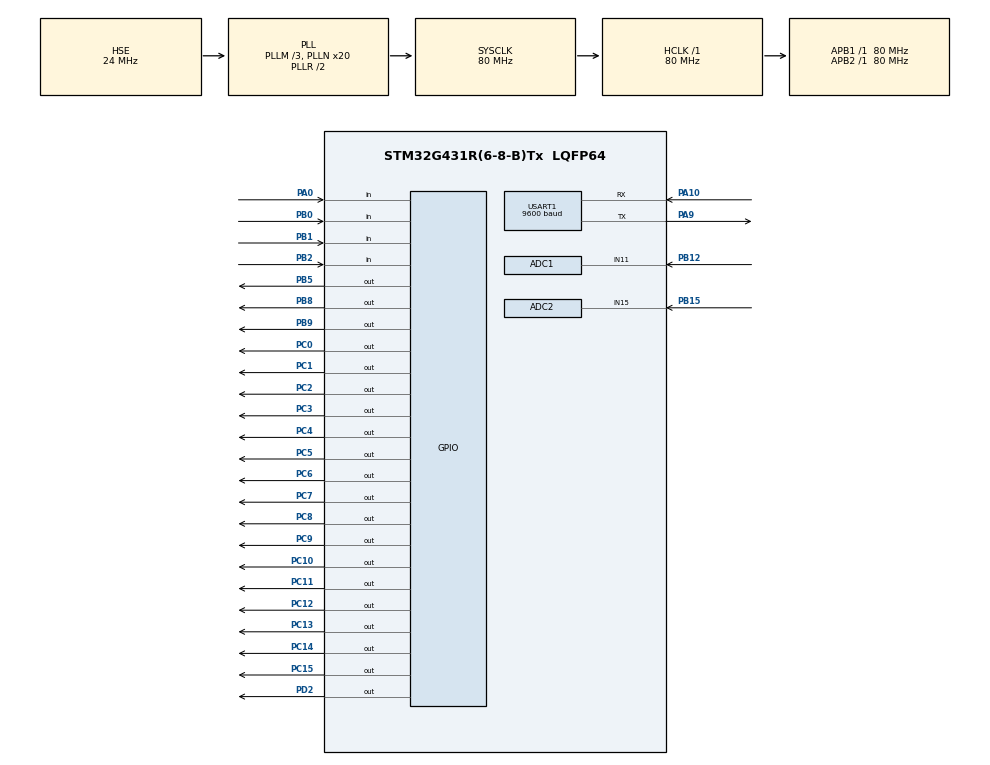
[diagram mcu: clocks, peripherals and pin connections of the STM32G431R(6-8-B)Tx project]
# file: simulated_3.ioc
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ADC1.Channel-1\#ChannelRegularConversion=ADC_CHANNEL_11
ADC1.ClockPrescaler=ADC_CLOCK_SYNC_PCLK_DIV2
ADC1.ContinuousConvMode=DISABLE
ADC1.NbrOfConversionFlag=1
ADC1.OffsetNumber-1\#ChannelRegularConversion=ADC_OFFSET_NONE
ADC1.Rank-1\#ChannelRegularConversion=1
ADC1.SamplingTime-1\#ChannelRegularConversion=ADC_SAMPLETIME_2CYCLES_5
ADC1.master=1
ADC2.Channel-0\#ChannelRegularConversion=ADC_CHANNEL_15
ADC2.ContinuousConvMode=DISABLE
ADC2.EOCSelection=ADC_EOC_SINGLE_CONV
ADC2.NbrOfConversionFlag=1
ADC2.OffsetNumber-0\#ChannelRegularConversion=ADC_OFFSET_NONE
ADC2.Rank-0\#ChannelRegularConversion=1
ADC2.SamplingTime-0\#ChannelRegularConversion=ADC_SAMPLETIME_2CYCLES_5
Mcu.Family=STM32G4
Mcu.Name=STM32G431R(6-8-B)Tx
Mcu.Package=LQFP64
NVIC.PriorityGroup=NVIC_PRIORITYGROUP_4
NVIC.TIM1_TRG_COM_TIM17_IRQn=true\:0\:0\:false\:false\:true\:true\:true\:true
NVIC.USART1_IRQn=true\:0\:0\:false\:false\:true\:true\:true\:true
PA0.GPIO_PuPd=GPIO_PULLUP
PA0.Signal=GPIO_Input
PA10.Mode=Asynchronous
PA10.Signal=USART1_RX
PA13.Mode=Serial_Wire
PA13.Signal=SYS_JTMS-SWDIO
PA14.Mode=Serial_Wire
PA14.Signal=SYS_JTCK-SWCLK
PA9.Mode=Asynchronous
PA9.Signal=USART1_TX
PB0.GPIO_PuPd=GPIO_PULLUP
PB0.Signal=GPIO_Input
PB1.GPIO_PuPd=GPIO_PULLUP
PB1.Signal=GPIO_Input
PB12.Mode=IN11-Single-Ended
PB12.Signal=ADC1_IN11
PB15.Mode=IN15-Single-Ended
PB15.Signal=ADC2_IN15
PB2.GPIO_PuPd=GPIO_PULLUP
PB2.Signal=GPIO_Input
PB5.Signal=GPIO_Output
PB8-BOOT0.Signal=GPIO_Output
PB9.Signal=GPIO_Output
PC0.Signal=GPIO_Output
PC1.Signal=GPIO_Output
PC10.Signal=GPIO_Output
PC11.Signal=GPIO_Output
PC12.Signal=GPIO_Output
PC13.Signal=GPIO_Output
PC14-OSC32_IN.Signal=GPIO_Output
PC15-OSC32_OUT.Signal=GPIO_Output
PC2.Signal=GPIO_Output
PC3.Signal=GPIO_Output
PC4.Signal=GPIO_Output
PC5.Signal=GPIO_Output
PC6.Signal=GPIO_Output
PC7.Signal=GPIO_Output
PC8.Signal=GPIO_Output
PC9.Signal=GPIO_Output
PD2.Signal=GPIO_Output
PF0-OSC_IN.Mode=HSE-External-Oscillator
PF0-OSC_IN.Signal=RCC_OSC_IN
PF1-OSC_OUT.Mode=HSE-External-Oscillator
PF1-OSC_OUT.Signal=RCC_OSC_OUT
ProjectManager.HeapSize=0x200
ProjectManager.StackSize=0x400
ProjectManager.TargetToolchain=MDK-ARM V5.32
RCC.ADC12Freq_Value=80000000
RCC.AHBFreq_Value=80000000
RCC.APB1Freq_Value=80000000
RCC.APB1TimFreq_Value=80000000
RCC.APB2Freq_Value=80000000
RCC.APB2TimFreq_Value=80000000
RCC.CortexFreq_Value=80000000
RCC.EXTERNAL_CLOCK_VALUE=12288000
RCC.HCLKFreq_Value=80000000
RCC.HSE_VALUE=24000000
RCC.HSI48_VALUE=48000000
RCC.HSI_VALUE=16000000
RCC.LSE_VALUE=32768
RCC.PLLM=RCC_PLLM_DIV3
RCC.PLLN=20
RCC.PLLSourceVirtual=RCC_PLLSOURCE_HSE
RCC.SYSCLKFreq_VALUE=80000000
RCC.SYSCLKSource=RCC_SYSCLKSOURCE_PLLCLK
RCC.USBFreq_Value=80000000
RCC.VCOOutputFreq_Value=160000000
TIM17.PeriodNoDither=100-1
TIM17.Prescaler=800-1
USART1.BaudRate=9600
USART1.VirtualMode-Asynchronous=VM_ASYNC
VP_SYS_VS_DBSignals.Mode=DisableDeadBatterySignals
VP_TIM17_VS_ClockSourceINT.Mode=Enable_Timer
board=custom

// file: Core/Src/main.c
/* USER CODE BEGIN Header */
/**
  ******************************************************************************
  * @file           : main.c
  * @brief          : Main program body
  ******************************************************************************
  * @attention
  *
  * Copyright (c) 2025 STMicroelectronics.
  * All rights reserved.
  *
  * This software is licensed under terms that can be found in the LICENSE file
  * in the root directory of this software component.
  * If no LICENSE file comes with this software, it is provided AS-IS.
  *
  ******************************************************************************
  */
/* USER CODE END Header */
#include "main.h"
#include "adc.h"
#include "tim.h"
#include "usart.h"
#include "gpio.h"

void SystemClock_Config(void);

/* USER CODE BEGIN 0 */
u8 lcd_mod=0;
double V_R37,V_R38;
double R37_H=2.2,R37_L=1.2,R38_H=3.0,R38_L=1.4;
double PASS_R37=1.1,PASS_R38=2.2;
int ALL_NUM=0,R37_ENTER_NUM=0,R38_ENTER_NUM=0;
u8 B1,B11,B2,B22,B3,B33,B4,B44;
u8 B2_INDEX=0;
u8 rx[5];
u8 rx_len=0;
int R37_TIM_1S=0,R37_TIM_1S_CON=0;
int R38_TIM_1S=0,R38_TIM_1S_CON=0;
double R37_PASS_MEMORY[20],R38_PASS_MEMORY[20];
void lcd_proc(void)
{
	char text[21];
		sprintf(text,"%s    ",rx);
		LCD_DisplayStringLine(Line0, (unsigned char *)text);
	if(lcd_mod==0)
	{
		sprintf(text,"       GOODS     ");
		LCD_DisplayStringLine(Line1, (unsigned char *)text);
		sprintf(text,"     R37:%.2fV     ",V_R37);
		LCD_DisplayStringLine(Line3, (unsigned char *)text);
		sprintf(text,"     R38:%.2fV     ",V_R38);
		LCD_DisplayStringLine(Line4, (unsigned char *)text);
	}
	if(lcd_mod==1)
	{
		sprintf(text,"      STANDARD     ");
		LCD_DisplayStringLine(Line1, (unsigned char *)text);
		sprintf(text,"    SR37:%.1f-%.1f     ",R37_L,R37_H);
		LCD_DisplayStringLine(Line3, (unsigned char *)text);
		sprintf(text,"    SR38:%.1f-%.1f     ",R38_L,R38_H);
		LCD_DisplayStringLine(Line4, (unsigned char *)text);
	}
	if(lcd_mod==2)
	{
		sprintf(text,"        PASS     ");
		LCD_DisplayStringLine(Line1, (unsigned char *)text);
			int i;
			R37_ENTER_NUM=0;
			R38_ENTER_NUM=0;
			for(i=0;i<=ALL_NUM-R38_ENTER_NUM;i++)
			{
				if(R37_L<=R37_PASS_MEMORY[i]&&R37_H>=R37_PASS_MEMORY[i])
					R37_ENTER_NUM++;
			}
			for(i=0;i<=ALL_NUM-R37_ENTER_NUM;i++)
			{
				if(R38_L<=R38_PASS_MEMORY[i]&&R38_H>=R38_PASS_MEMORY[i])
					R38_ENTER_NUM++;
			}
		PASS_R37=R37_ENTER_NUM*1.0/(ALL_NUM-R38_ENTER_NUM)*100.0;
		PASS_R38=R38_ENTER_NUM*1.0/(ALL_NUM-R37_ENTER_NUM)*100.0;
		if(ALL_NUM-R38_ENTER_NUM==0) PASS_R37=0;
		if(ALL_NUM-R37_ENTER_NUM==0) PASS_R38=0;
		sprintf(text,"    PR37:%.1f%%     ",PASS_R37);
		LCD_DisplayStringLine(Line3, (unsigned char *)text);
		sprintf(text,"    PR38:%.1f%%     ",PASS_R38);
		LCD_DisplayStringLine(Line4, (unsigned char *)text);
	}
}
void key_proc(void)
{
	if(HAL_GPIO_ReadPin(GPIOB,GPIO_PIN_0)==0) B1=1;
	else B1=0;
	if(B1==1&&B11==0)
	{
		B11=1;
		lcd_mod++;
		if(lcd_mod==3) lcd_mod=0;
	}if(B11==1&&B1==0) B11=0;

	if(HAL_GPIO_ReadPin(GPIOB,GPIO_PIN_1)==0) B2=1;
	else B2=0;
	if(B2==1&&B22==0)
	{
		if(lcd_mod==0)
		{
			ALL_NUM++;
			if(R37_L<=V_R37&&R37_H>=V_R37)
			{
				R37_PASS_MEMORY[R37_ENTER_NUM]=V_R37;
				R37_ENTER_NUM++;
				R37_TIM_1S_CON=1;
			}
		}
		if(lcd_mod==1)
		{
			B2_INDEX++;
			if(B2_INDEX==4) B2_INDEX=0;
		}
		B22=1;
	}if(B22==1&&B2==0) B22=0;

	if(HAL_GPIO_ReadPin(GPIOB,GPIO_PIN_2)==0) B3=1;
	else B3=0;
	if(B3==1&&B33==0)
	{
		if(lcd_mod==0)
		{
			ALL_NUM++;
			if(R38_L<=V_R38&&R38_H>=V_R38)
			{
				R38_PASS_MEMORY[R38_ENTER_NUM]=V_R38;
				R38_ENTER_NUM++;
				R38_TIM_1S_CON=1;
			}
		}
		if(lcd_mod==1)
		{
			if(B2_INDEX==0) R37_H+=0.2;
			else if(B2_INDEX==1) R37_L+=0.2;
			else if(B2_INDEX==2) R38_H+=0.2;
			else if(B2_INDEX==3) R38_L+=0.2;
			if(R37_H>3.1) R37_H=2.2;
			if(R38_H>3.1) R38_H=2.2;
			if(R37_L>2.1) R37_L=1.2;
			if(R38_L>2.1) R38_L=1.2;
		}
		B33=1;
	}if(B33==1&&B3==0) B33=0;

	if(HAL_GPIO_ReadPin(GPIOA,GPIO_PIN_0)==0) B4=1;
	else B4=0;
	if(B4==1&&B44==0)
	{
		B44=1;
		if(lcd_mod==1)
		{
			if(B2_INDEX==0) R37_H-=0.2;
			else if(B2_INDEX==1) R37_L-=0.2;
			else if(B2_INDEX==2) R38_H-=0.2;
			else if(B2_INDEX==3) R38_L-=0.2;
			if(R37_H<2.1) R37_H=3.0;
			if(R38_H<2.1) R38_H=3.0;
			if(R37_L<1.1) R37_L=2.0;
			if(R38_L<1.1) R38_L=2.0;
		}
		if(lcd_mod==2)
		{
			ALL_NUM=R37_ENTER_NUM=R38_ENTER_NUM=0;
		}
	}if(B44==1&&B4==0) B44=0;
}
void uart_proc(void)
{
	uint8_t text[15];
	if(strcmp((char *)rx,"\0")!=0)
	{
		if(strcmp((char *)rx,"R37")==0)
		{
			sprintf((char *)text,"R37:%d,%d,%.1f%%",ALL_NUM,R37_ENTER_NUM,PASS_R37);
			HAL_UART_Transmit(&huart1,(uint8_t *)text,strlen((char*)text),HAL_MAX_DELAY);
		}
		if(strcmp((char *)rx,"R38")==0)
		{
			sprintf((char *)text,"R38:%d,%d,%.1f%%",ALL_NUM,R38_ENTER_NUM,PASS_R38);
			HAL_UART_Transmit(&huart1,(uint8_t *)text,strlen((char*)text),HAL_MAX_DELAY);
		}
		memset(rx,'\0',sizeof(rx));
	}
}
void HAL_TIM_PeriodElapsedCallback(TIM_HandleTypeDef *htim)
{
	if(htim->Instance==TIM17)
	{
		if(R37_TIM_1S_CON==1)
			if(++R37_TIM_1S==1000)
			{
				R37_TIM_1S=0;
				R37_TIM_1S_CON=0;
			}
		if(R38_TIM_1S_CON==1)
			if(++R38_TIM_1S==1000)
			{
				R38_TIM_1S=0;
				R38_TIM_1S_CON=0;
			}
	}
}

/* USER CODE END 0 */

int main(void)
{

  /* MCU Configuration--------------------------------------------------------*/

  /* Reset of all peripherals, Initializes the Flash interface and the Systick. */
  HAL_Init();

  /* Configure the system clock */
  SystemClock_Config();

  /* Initialize all configured peripherals */
  MX_GPIO_Init();
  MX_ADC1_Init();
  MX_ADC2_Init();
  MX_USART1_UART_Init();
  MX_TIM17_Init();
  /* USER CODE BEGIN 2 */
	LCD_Init();
  /* USER CODE END 2 */

  /* Infinite loop */
  /* USER CODE BEGIN WHILE */
	LCD_SetBackColor(Black);
	LCD_SetTextColor(White);
	LCD_Clear(Black);
	__HAL_UART_ENABLE_IT(&huart1,UART_IT_IDLE);
	__HAL_UART_ENABLE_IT(&huart1,UART_IT_RXNE);
	HAL_TIM_Base_Start_IT(&htim17);
  while (1)
  {
	  HAL_ADC_Start(&hadc1);
	  V_R38=HAL_ADC_GetValue(&hadc1)/4095.0*3.3;
	  HAL_ADC_Start(&hadc2);
	  V_R37=HAL_ADC_GetValue(&hadc2)/4095.0*3.3;
    /* USER CODE END WHILE */

    /* USER CODE BEGIN 3 */
	  lcd_proc();key_proc();uart_proc();

	  HAL_GPIO_WritePin(GPIOC,(uint16_t)0xff00,1);
	  if(R37_TIM_1S_CON==1)	HAL_GPIO_WritePin(GPIOC,(uint16_t)0x0100,0);
	  if(R38_TIM_1S_CON==1)	HAL_GPIO_WritePin(GPIOC,(uint16_t)0x0200,0);
	  if(lcd_mod==0) HAL_GPIO_WritePin(GPIOC,(uint16_t)0x0400,0);
	  if(lcd_mod==1) HAL_GPIO_WritePin(GPIOC,(uint16_t)0x0800,0);
	  if(lcd_mod==2) HAL_GPIO_WritePin(GPIOC,(uint16_t)0x1000,0);
	  HAL_GPIO_WritePin(GPIOD,GPIO_PIN_2,1);
	  HAL_GPIO_WritePin(GPIOD,GPIO_PIN_2,0);
  }
  /* USER CODE END 3 */
}

void SystemClock_Config(void)
{
  RCC_OscInitTypeDef RCC_OscInitStruct = {0};
  RCC_ClkInitTypeDef RCC_ClkInitStruct = {0};

  /** Configure the main internal regulator output voltage
  */
  HAL_PWREx_ControlVoltageScaling(PWR_REGULATOR_VOLTAGE_SCALE1);

  /** Initializes the RCC Oscillators according to the specified parameters
  * in the RCC_OscInitTypeDef structure.
  */
  RCC_OscInitStruct.OscillatorType = RCC_OSCILLATORTYPE_HSE;
  RCC_OscInitStruct.HSEState = RCC_HSE_ON;
  RCC_OscInitStruct.PLL.PLLState = RCC_PLL_ON;
  RCC_OscInitStruct.PLL.PLLSource = RCC_PLLSOURCE_HSE;
  RCC_OscInitStruct.PLL.PLLM = RCC_PLLM_DIV3;
  RCC_OscInitStruct.PLL.PLLN = 20;
  RCC_OscInitStruct.PLL.PLLP = RCC_PLLP_DIV2;
  RCC_OscInitStruct.PLL.PLLQ = RCC_PLLQ_DIV2;
  RCC_OscInitStruct.PLL.PLLR = RCC_PLLR_DIV2;
  if (HAL_RCC_OscConfig(&RCC_OscInitStruct) != HAL_OK)
  {
    Error_Handler();
  }

  /** Initializes the CPU, AHB and APB buses clocks
  */
  RCC_ClkInitStruct.ClockType = RCC_CLOCKTYPE_HCLK|RCC_CLOCKTYPE_SYSCLK
                              |RCC_CLOCKTYPE_PCLK1|RCC_CLOCKTYPE_PCLK2;
  RCC_ClkInitStruct.SYSCLKSource = RCC_SYSCLKSOURCE_PLLCLK;
  RCC_ClkInitStruct.AHBCLKDivider = RCC_SYSCLK_DIV1;
  RCC_ClkInitStruct.APB1CLKDivider = RCC_HCLK_DIV1;
  RCC_ClkInitStruct.APB2CLKDivider = RCC_HCLK_DIV1;

  if (HAL_RCC_ClockConfig(&RCC_ClkInitStruct, FLASH_LATENCY_2) != HAL_OK)
  {
    Error_Handler();
  }
}

void Error_Handler(void)
{
  __disable_irq();
  while (1)
  {
  }
}
